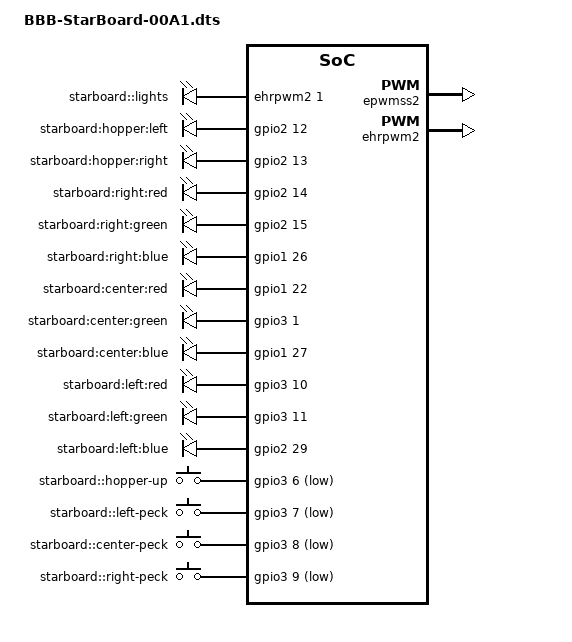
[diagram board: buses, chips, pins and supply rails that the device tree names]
/dts-v1/;
/plugin/;

/ {
  compatible = "ti,beaglebone-black";

  /* identification */
  part-number = "BBB-StarBoard";
  version = "00A1";

  exclusive-use =
      "P8.11", "gpio1_13",
      "P8.12", "gpio1_12",
      "P8.13", "ehrpwm2b",
      "P8.14", "gpio0_26",
      "P8.15", "gpio1_15",
      "P8.16", "gpio1_14",
      "P8.17", "gpio0_27",
      "P8.18", "gpio2_1",
      "P8.19", "gpio0_22",
      "P8.26", "gpio1_29",
      "P8.41", "gpio2_10",
      "P8.42", "gpio2_11",
      "P8.43", "gpio2_8",
      "P8.44", "gpio2_9",
      "P8.45", "gpio2_6",
      "P8.46", "gpio2_7";

  /* sets pin mux */
  fragment@0 {
    target = <&am33xx_pinmux>;
    __overlay__ {
      lights_pwm: pinmux_lights_pwm_pins {
        pinctrl-single,pins = <
             0x024 0x4 /* P8.13 - house lights output pulldown */
        >;
      };
      mosfet_gpio: pinmux_mosfet_gpio_pins {
        pinctrl-single,pins = <
             0x034 0x07 /* P8.11 - right hopper GPIO output pulldown */
             0x030 0x07 /* P8.12 - left hopper GPIO output pulldown */
        >;
      };
      led_gpio: pinmux_led_gpio_pins {
        pinctrl-single,pins = <
             0x028 0x07 /* P8.14 - right blue */
             0x03c 0x07 /* P8.15 - right green */
             0x038 0x07 /* P8.16 - right red */
             0x02c 0x07 /* P8.17 - center blue */
             0x08c 0x07 /* P8.18 - center green */
             0x020 0x07 /* P8.19 - center red - consider pwm? */
             0x07c 0x07 /* P8.26 - left blue */
             0x0b0 0x07 /* P8.41 - left red */
             0x0b4 0x07 /* P8.42 - left green */
        >;
      };
      switch_gpio: pinmux_switch_gpio_pins {
        pinctrl-single,pins = <
             0x0a8 0x37 /* P8.43 - center peck GPIO input pullup */
             0x0ac 0x37 /* P8.44 - right peck */
             0x0a0 0x37 /* P8.45 - hopper detector */
             0x0a4 0x37 /* P8.46 - left peck */
        >;
      };
    };
  };

  /* enables pwm outputs - not sure what first device is but it's needed */
  fragment@1 {
    target = <&epwmss2>;
    __overlay__ {
      status = "okay";
    };
  };

  fragment@2 {
    target = <&ehrpwm2>;
    __overlay__ {
      pinctrl-names = "default";
      pinctrl-0 = <&lights_pwm>;
      status = "okay";
    };
  };

  /* creates user interface */
  fragment@3 {
       target = <&ocp>;
       __overlay__ {
         sbd-lights {
                 compatible = "pwm-leds";
                 status = "okay";
                 sbd-lights-pwm {
                         label = "starboard::lights";
                         /*channel, period (ns), polarity */
                         pwms = <&ehrpwm2 1 500000 0>;
                         /* pwm-names = "lights"; */
                         max-brightness = <255>;
                         default-state = "off";
                 };
         };
         sbd-hoppers {
                 compatible = "gpio-leds";
                 pinctrl-names = "default";
                 pinctrl-0 = <&mosfet_gpio>;
                 status = "okay";
                 sbd-hopper-left {
                         label = "starboard:hopper:left";
                         gpios = <&gpio2 12 0>;
                         default-state = "off";
                 };
                 sbd-hopper-right {
                         label = "starboard:hopper:right";
                         gpios = <&gpio2 13 0>;
                         default-state = "off";
                 };
         };
         sbd-cues {
                 compatible = "gpio-leds";
                 pinctrl-names = "default";
                 pinctrl-0 = <&led_gpio>;
                 status = "okay";
                 sbd-cue-rrd {
                         label = "starboard:right:red";
                         gpios = <&gpio2 14 0>;
                         default-state = "off";
                 };
                 sbd-cue-rgn {
                         label = "starboard:right:green";
                         gpios = <&gpio2 15 0>;
                         default-state = "off";
                 };
                 sbd-cue-rbl {
                         label = "starboard:right:blue";
                         gpios = <&gpio1 26 0>;
                         default-state = "off";
                 };
                 sbd-cue-crd {
                         label = "starboard:center:red";
                         gpios = <&gpio1 22 0>;
                         default-state = "off";
                 };
                 sbd-cue-cgn {
                         label = "starboard:center:green";
                         gpios = <&gpio3 1 0>;
                         default-state = "off";
                 };
                 sbd-cue-cbl {
                         label = "starboard:center:blue";
                         gpios = <&gpio1 27 0>;
                         default-state = "off";
                 };
                 sbd-cue-lrd {
                         label = "starboard:left:red";
                         gpios = <&gpio3 10 0>;
                         default-state = "off";
                 };
                 sbd-cue-lgn {
                         label = "starboard:left:green";
                         gpios = <&gpio3 11 0>;
                         default-state = "off";
                 };
                 sbd-cue-lbl {
                         label = "starboard:left:blue";
                         gpios = <&gpio2 29 0>;
                         default-state = "off";
                };
         };
         sbd-switches {
                 compatible = "gpio-keys";
                 pinctrl-names = "default";
                 pinctrl-0 = <&switch_gpio>;
                 status = "okay";
                 /* these need to be in gpio order for some reason */
                 hopper-up {
                   label = "starboard::hopper-up";
                   debounce_interval = <5>;
                   linux,code = <1>;
                   gpios = <&gpio3 6 0x5>;
                   gpio-key,wakeup;
                 };
                 peck-left {
                   label = "starboard::left-peck";
                   debounce_interval = <5>;
                   linux,code = <2>;
                   /* 0x5 should be input pullup */
                   gpios = <&gpio3 7 0x5>;
                   gpio-key,wakeup;
                 };
                 peck-center {
                   label = "starboard::center-peck";
                   debounce_interval = <5>;
                   linux,code = <3>;
                   gpios = <&gpio3 8 0x5>;
                   gpio-key,wakeup;
                 };
                 peck-right {
                   label = "starboard::right-peck";
                   debounce_interval = <5>;
                   linux,code = <4>;
                   gpios = <&gpio3 9 0x5>;
                   gpio-key,wakeup;
                 };
         };
       };
    };
};
